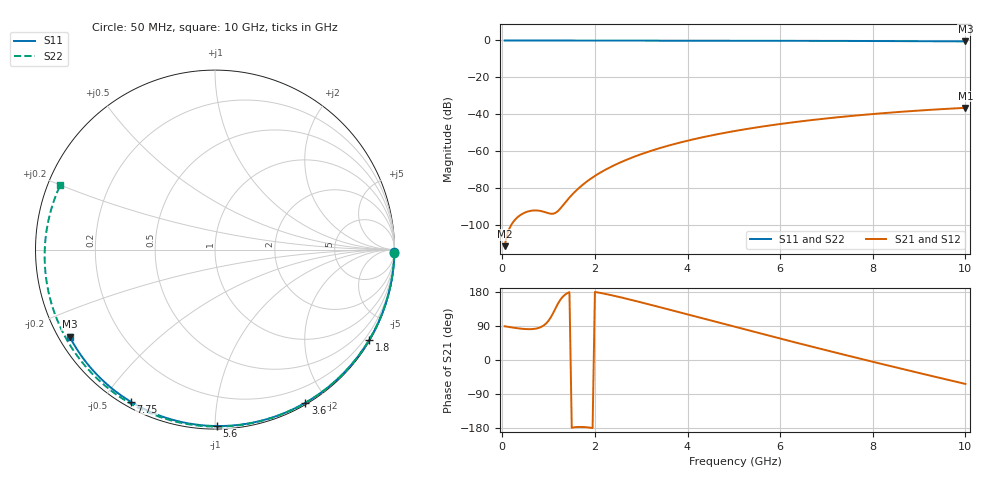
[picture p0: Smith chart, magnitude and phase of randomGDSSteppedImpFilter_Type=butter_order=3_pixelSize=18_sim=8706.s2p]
! freq	dB(S11)	phase(S11)	dB(S12)	phase(S12)
!  dB(S21)	phase(S21)	dB(S22)	phase(S22)
!S-par simulation data
#  GHz  S  DB  R 50
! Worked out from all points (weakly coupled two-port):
!   200 points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, 50 MHz to 10 GHz, reference 50 ohm
!   highest |S21| = -36.42 dB at 10 GHz (marker M1); lowest = -111.2 dB at 50 MHz (marker M2)
!   lowest |S11| = -0.5 dB at 10 GHz (marker M3), VSWR 34.71, Z = 1.55 - j13.8 ohm
!   |S11| at or under -10 dB: nowhere
!   |S22| runs from -0.6 to 0.0 dB; largest |S21 - S12| = 0
!   S11 on the Smith chart (normalised r, x): 50 MHz: open; 1.8 GHz: 0.03, -3.67; 3.6 GHz: 0.02, -1.75; 5.6 GHz: 0.02, -1.01; 7.75 GHz: 0.02, -0.59; 10 GHz: 0.03, -0.28
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0.05  -0.00 -0.9  -111.18 89.0  -111.18 89.0  -0.00 -1.2
0.4  -0.01 -6.9  -94.20 82.7  -94.20 82.7  -0.01 -9.6
0.8  -0.02 -13.7  -92.03 85.2  -92.03 85.2  -0.02 -19.1
1.6  -0.03 -27.2  -80.99 -177.0  -80.99 -177.0  -0.05 -37.9
1.65  -0.04 -28.0  -79.84 -176.6  -79.84 -176.6  -0.05 -39.0
1.75  -0.04 -29.7  -77.71 -176.8  -77.71 -176.8  -0.05 -41.3
1.8  -0.04 -30.5  -76.72 -177.3  -76.72 -177.3  -0.05 -42.5
2.1  -0.05 -35.4  -71.67 177.4  -71.67 177.4  -0.06 -49.3
2.5  -0.05 -42.0  -66.47 167.0  -66.47 167.0  -0.07 -58.2
2.9  -0.06 -48.4  -62.36 155.1  -62.36 155.1  -0.09 -66.9
3.4  -0.07 -56.3  -58.19 139.5  -58.19 139.5  -0.10 -77.5
3.6  -0.08 -59.5  -56.75 133.1  -56.75 133.1  -0.11 -81.6
4.3  -0.10 -70.2  -52.46 110.6  -52.46 110.6  -0.13 -95.8
5.05  -0.13 -81.4  -48.81 86.6  -48.81 86.6  -0.17 -110.4
5.6  -0.15 -89.3  -46.58 69.1  -46.58 69.1  -0.19 -120.8
6.15  -0.17 -97.1  -44.65 51.8  -44.65 51.8  -0.23 -130.9
6.7  -0.20 -104.8  -42.97 34.8  -42.97 34.8  -0.27 -141.0
7.25  -0.24 -112.3  -41.49 17.9  -41.49 17.9  -0.31 -150.9
7.75  -0.28 -119.0  -40.30 2.8  -40.30 2.8  -0.35 -160.0
8.35  -0.33 -127.0  -39.05 -15.1  -39.05 -15.1  -0.41 -171.0
9.2  -0.41 -138.4  -37.55 -40.1  -37.55 -40.1  -0.50 173.0
10  -0.50 -149.1  -36.42 -63.1  -36.42 -63.1  -0.59 157.3
